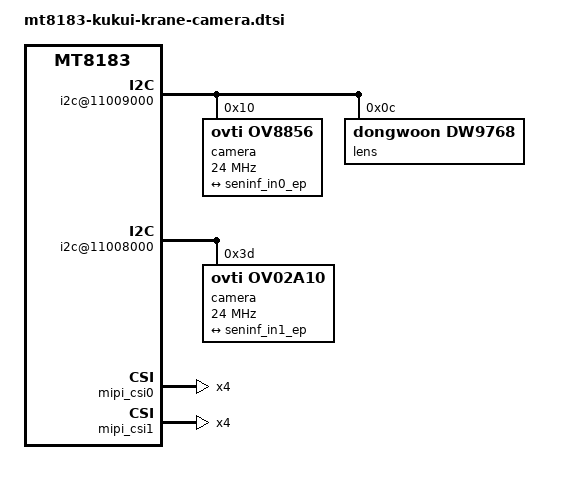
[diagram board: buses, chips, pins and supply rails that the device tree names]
// SPDX-License-Identifier: GPL-2.0
/*
 * Camera nodes for MT8183 kukui-krane (Lenovo IdeaPad Duet, sku176), to be
 * APPENDED to the running (firmware-fixed) device tree, see
 * scripts/merge-running-dt.sh and docs/kexec-dt.md.
 *
 * The running DT has no __symbols__, so existing nodes are referenced by
 * path (&{/path}) and dt-bindings constants are written as numbers with
 * comments. Values from the ChromeOS chromeos-5.10 krane DT unless noted.
 */
#define TOPCK &{/soc/syscon@10000000}
#define PIO &{/soc/pinctrl@10005000}
#define REG(x) &{/soc/pwrap@1000d000/pmic/regulators/x}

&{/chosen} {
	/delete-property/ linux,booted-from-kexec;
	/delete-property/ linux,initrd-start;
	/delete-property/ linux,initrd-end;
};

&{/soc/pinctrl@10005000} {
	cam0-pins {
		pins-mclk { pinmux = <0x6301>; };		/* PINMUX_GPIO99__FUNC_CMMCLK0 */
		pins-reset { pinmux = <0x6f00>; output-low; };	/* GPIO111 */
	};
	cam1-pins {
		pins-mclk { pinmux = <0x6401>; };		/* PINMUX_GPIO100__FUNC_CMMCLK1 */
		pins-powerdown { pinmux = <0x6b00>; output-high; };	/* GPIO107 */
		pins-reset { pinmux = <0x6d00>; output-low; };	/* GPIO109 */
	};
};

&{/soc/i2c@11009000} {
	camera@10 {
		compatible = "ovti,ov8856";
		reg = <0x10>;
		clocks = <TOPCK 4>, <TOPCK 100>;	/* CLK_TOP_MUX_CAMTG, CLK_TOP_UNIVP_192M_D8 */
		clock-names = "xvclk", "freq_mux";
		/*
		 * 24 MHz: CAMTG has no 19.2 MHz parent (asking for 19.2 lets the mux
		 * round down to 13 MHz csw_f26m_ck_d2). The kukui modes (3264x2448,
		 * 1632x1224) program PLL 0x0302=0x3c for 24 MHz.
		 */
		clock-frequency = <24000000>;
		assigned-clocks = <TOPCK 4>, <TOPCK 100>;
		assigned-clock-parents = <TOPCK 100>;
		assigned-clock-rates = <0>, <24000000>;
		reset-gpios = <PIO 111 1>;
		pinctrl-names = "default";
		pinctrl-0 = <&{/soc/pinctrl@10005000/cam0-pins}>;
		avdd-supply = <REG(ldo_vcama2)>;
		dvdd-supply = <REG(ldo_vcamd)>;
		dovdd-supply = <REG(ldo_vcamio)>;
		lens-focus = <&{/soc/i2c@11009000/lens@c}>;
		port {
			ov8856_ep: endpoint {
				remote-endpoint = <&seninf_in0_ep>;
				clock-lanes = <0>;
				clock-noncontinuous;
				data-lanes = <1 2 3 4>;
				link-frequencies = /bits/ 64 <360000000 180000000>;
			};
		};
	};
	lens@c {
		compatible = "dongwoon,dw9768";
		reg = <0x0c>;
		vin-supply = <REG(ldo_vcamio)>;
		vdd-supply = <REG(ldo_vcama2)>;
	};
};

&{/soc/i2c@11008000} {
	camera@3d {
		compatible = "ovti,ov02a10";
		reg = <0x3d>;
		clocks = <TOPCK 29>, <TOPCK 100>;	/* CLK_TOP_MUX_CAMTG2 */
		clock-names = "eclk", "freq_mux";
		clock-frequency = <24000000>;
		rotation = <180>;
		assigned-clocks = <TOPCK 29>, <TOPCK 100>;
		assigned-clock-parents = <TOPCK 100>;
		assigned-clock-rates = <0>, <24000000>;
		powerdown-gpios = <PIO 107 0>;
		reset-gpios = <PIO 109 1>;
		pinctrl-names = "default";
		pinctrl-0 = <&{/soc/pinctrl@10005000/cam1-pins}>;
		avdd-supply = <REG(ldo_vcama1)>;
		dvdd-supply = <REG(ldo_vcn18)>;
		dovdd-supply = <REG(ldo_vcamio)>;
		port {
			ov02a10_ep: endpoint {
				remote-endpoint = <&seninf_in1_ep>;
				data-lanes = <1>;
				ovti,mipi-clock-voltage = <3>;
				link-frequencies = /bits/ 64 <390000000>;
			};
		};
	};
};

/*
 * CSI-RX PHYs + seninf + CAMSV1/2 (raw capture to memory), drivers in this
 * repository. CAMSV pages verified by register dump (docs/register-dumps).
 * IRQs SPI 258/259 confirmed working; which larb6 port the CAMSV write DMA
 * uses is not known, so all candidates are listed in iommus.
 */
#define CAMSYS &{/soc/syscon@1a000000}
#define SPM_CAM <&{/soc/syscon@10006000/power-controller} 8>	/* MT8183_POWER_DOMAIN_CAM */
#define IOMMU &{/soc/iommu@10205000}

&{/soc} {
	mipi_csi0: phy@11c80000 {
		compatible = "mediatek,mt8183-csi-rx";
		reg = <0 0x11c80000 0 0x2000>;
		num-lanes = <4>;
		#phy-cells = <1>;		/* C/D-PHY combo: arg PHY_TYPE_DPHY */
	};

	mipi_csi1: phy@11c82000 {
		compatible = "mediatek,mt8183-csi-rx";
		reg = <0 0x11c82000 0 0x2000>;
		num-lanes = <4>;
		phy-type = <10>;		/* PHY_TYPE_DPHY */
		#phy-cells = <0>;
	};

	seninf@1a040000 {
		compatible = "mediatek,mt8183-seninf";
		reg = <0 0x1a040000 0 0x8000>;
		interrupts = <0 251 8>;		/* GIC_SPI 251 IRQ_TYPE_LEVEL_LOW */
		clocks = <CAMSYS 4>, <TOPCK 27>;	/* CLK_CAM_SENINF, CLK_TOP_MUX_SENINF */
		clock-names = "camsys", "top_mux";
		power-domains = SPM_CAM;
		phys = <&mipi_csi0 10>, <&mipi_csi1>;
		phy-names = "csi0", "csi1";

		ports {
			#address-cells = <1>;
			#size-cells = <0>;

			port@0 {
				reg = <0>;
				/* reproduces the cros MIPI_RX_CON24 lane mux 0xc9 */
				seninf_in0_ep: endpoint {
					remote-endpoint = <&ov8856_ep>;
					clock-lanes = <2>;
					data-lanes = <1 3 0 4>;
				};
			};

			port@1 {
				reg = <1>;
				seninf_in1_ep: endpoint {
					remote-endpoint = <&ov02a10_ep>;
					clock-lanes = <2>;
					data-lanes = <1>;
				};
			};

			port@4 {
				reg = <4>;
				seninf_out0_ep: endpoint {
					remote-endpoint = <&camsv1_ep>;
				};
			};

			port@5 {
				reg = <5>;
				seninf_out1_ep: endpoint {
					remote-endpoint = <&camsv2_ep>;
				};
			};
		};
	};

	camsv@1a050000 {
		compatible = "mediatek,mt8183-camsv";
		reg = <0 0x1a050510 0 0x40>,	/* top */
		      <0 0x1a050020 0 0x28>,	/* IMGO */
		      <0 0x1a050220 0 0x90>;	/* TG */
		interrupts = <0 258 8>;
		clocks = <CAMSYS 2>, <CAMSYS 3>, <CAMSYS 5>;	/* CAM, CAMTG, CAMSV0 */
		clock-names = "cam", "camtg", "camsv";
		/* larb6: SOCO, SOC1, SOC2, IMGO - the camsv write port is one of these */
		iommus = <IOMMU 203>, <IOMMU 204>, <IOMMU 205>, <IOMMU 192>;
		power-domains = SPM_CAM;

		ports {
			#address-cells = <1>;
			#size-cells = <0>;
			port@0 {
				reg = <0>;
				camsv1_ep: endpoint {
					remote-endpoint = <&seninf_out0_ep>;
				};
			};
		};
	};

	camsv@1a051000 {
		compatible = "mediatek,mt8183-camsv";
		reg = <0 0x1a051510 0 0x40>,
		      <0 0x1a051020 0 0x28>,
		      <0 0x1a051220 0 0x90>;
		interrupts = <0 259 8>;
		clocks = <CAMSYS 2>, <CAMSYS 3>, <CAMSYS 6>;	/* CAM, CAMTG, CAMSV1 */
		clock-names = "cam", "camtg", "camsv";
		iommus = <IOMMU 203>, <IOMMU 204>, <IOMMU 205>, <IOMMU 192>;
		power-domains = SPM_CAM;

		ports {
			#address-cells = <1>;
			#size-cells = <0>;
			port@0 {
				reg = <0>;
				camsv2_ep: endpoint {
					remote-endpoint = <&seninf_out1_ep>;
				};
			};
		};
	};
};
